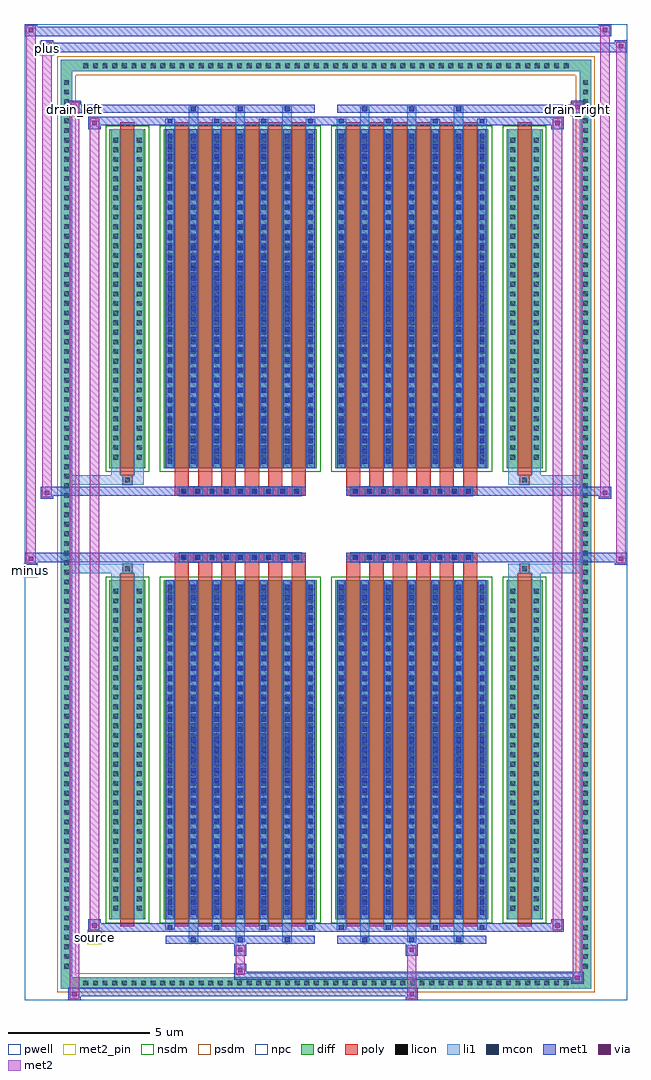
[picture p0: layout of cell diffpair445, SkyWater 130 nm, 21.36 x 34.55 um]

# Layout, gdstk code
import gdstk
lib = gdstk.Library(unit=1e-6, precision=5e-09)
def R(c, l, rs):  # rectangles x0, y0, x1, y1
    for r in rs: c.add(gdstk.rectangle(r[:2], r[2:], *l))
def A(c, l, x, y, w, h, nx, ny, dx, dy):  # array of equal rectangles
    R(c, l, [(x+i*dx, y+j*dy, x+i*dx+w, y+j*dy+h) for i in range(nx) for j in range(ny)])
def P(c, l, *ps):  # polygons
    for p in ps: c.add(gdstk.Polygon(p, *l))
pwell = (64, 44)
diff = (65, 20)
poly = (66, 20)
licon = (66, 44)
li1 = (67, 20)
mcon = (67, 44)
met1 = (68, 20)
via = (68, 44)
met2_pin = (69, 16)
met2 = (69, 20)
nsdm = (93, 44)
psdm = (94, 20)
npc = (95, 20)

diffpair445 = lib.new_cell('diffpair445')
R(diffpair445, pwell, [(-10.66,-16.84,10.66,17.71), (-7.98,-15.03,-0.01,-0.805), (0.01,-15.03,7.98,-0.805), (-7.98,0.805,-0.01,15.03), (0.01,0.805,7.98,15.03)])
A(diffpair445, diff, -8.705, -16.44, 0.41, 0.41, 51, 2, 0.34, 32.47)
A(diffpair445, diff, -9.39, -15.845, 0.41, 0.41, 1, 93, 0, 0.34)
A(diffpair445, diff, 8.98, -15.845, 0.41, 0.41, 1, 93, 0, 0.34)
R(diffpair445, diff, [(-8.705,-16.44,8.705,-16.03), (-9.39,-15.845,-8.98,15.845), (8.98,-15.845,9.39,15.845), (-7.67,-13.985,-6.39,-1.985), (-5.75,-13.985,-0.32,-1.985), (0.32,-13.985,5.75,-1.985), (6.39,-13.985,7.67,-1.985), (-7.67,1.985,-6.39,13.985), (-5.75,1.985,-0.32,13.985), (0.32,1.985,5.75,13.985), (6.39,1.985,7.67,13.985), (-8.705,16.03,8.705,16.44)])
P(diffpair445, diff, [(9.39,16.44),(-9.39,16.44),(-9.39,-16.03),(-8.98,-16.03),(-8.98,16.03),(8.98,16.03),(8.98,-16.03),(-8.98,-16.03),(-9.39,-16.03),(-9.39,-16.44),(9.39,-16.44)])
A(diffpair445, poly, -5.36, -14.235, 0.5, 12.5, 6, 2, 0.83, 15.97)
A(diffpair445, poly, 0.71, -14.235, 0.5, 12.5, 6, 2, 0.83, 15.97)
A(diffpair445, poly, -5.36, -1.735, 0.5, 0.4, 6, 2, 0.83, 3.07)
A(diffpair445, poly, 0.71, -1.735, 0.5, 0.4, 6, 2, 0.83, 3.07)
A(diffpair445, poly, -5.2, -1.335, 0.33, 0.33, 9, 2, 0.5, 2.34)
A(diffpair445, poly, 0.87, -1.335, 0.33, 0.33, 9, 2, 0.5, 2.34)
R(diffpair445, poly, [(-7.28,-14.235,-6.78,-1.735), (6.78,-14.235,7.28,-1.735), (-7.195,-1.735,-6.865,-1.405), (-7.195,-1.735,-6.865,-1.405), (6.865,-1.735,7.195,-1.405), (6.865,-1.735,7.195,-1.405), (-5.36,-1.335,-0.71,-1.005), (0.71,-1.335,5.36,-1.005), (-5.36,1.005,-0.71,1.335), (0.71,1.005,5.36,1.335), (-7.195,1.405,-6.865,1.735), (-7.195,1.405,-6.865,1.735), (6.865,1.405,7.195,1.735), (6.865,1.405,7.195,1.735), (-7.28,1.735,-6.78,14.235), (6.78,1.735,7.28,14.235)])
A(diffpair445, licon, -8.585, -16.32, 0.17, 0.17, 51, 2, 0.34, 32.47)
A(diffpair445, licon, -9.27, -15.725, 0.17, 0.17, 1, 93, 0, 0.34)
A(diffpair445, licon, 9.1, -15.725, 0.17, 0.17, 1, 93, 0, 0.34)
A(diffpair445, licon, -7.53, -13.68, 0.17, 0.17, 1, 34, 0, 0.34)
A(diffpair445, licon, -6.7, -13.68, 0.17, 0.17, 1, 34, 0, 0.34)
A(diffpair445, licon, -5.61, -13.68, 0.17, 0.17, 7, 34, 0.83, 0.34)
A(diffpair445, licon, 0.46, -13.68, 0.17, 0.17, 7, 34, 0.83, 0.34)
A(diffpair445, licon, 6.53, -13.68, 0.17, 0.17, 1, 34, 0, 0.34)
A(diffpair445, licon, 7.36, -13.68, 0.17, 0.17, 1, 34, 0, 0.34)
A(diffpair445, licon, -5.12, -1.255, 0.17, 0.17, 9, 2, 0.5, 2.34)
A(diffpair445, licon, 0.95, -1.255, 0.17, 0.17, 9, 2, 0.5, 2.34)
A(diffpair445, licon, -7.53, 2.29, 0.17, 0.17, 1, 34, 0, 0.34)
A(diffpair445, licon, -6.7, 2.29, 0.17, 0.17, 1, 34, 0, 0.34)
A(diffpair445, licon, -5.61, 2.29, 0.17, 0.17, 7, 34, 0.83, 0.34)
A(diffpair445, licon, 0.46, 2.29, 0.17, 0.17, 7, 34, 0.83, 0.34)
A(diffpair445, licon, 6.53, 2.29, 0.17, 0.17, 1, 34, 0, 0.34)
A(diffpair445, licon, 7.36, 2.29, 0.17, 0.17, 1, 34, 0, 0.34)
R(diffpair445, licon, [(-7.115,-1.655,-6.945,-1.485), (6.945,-1.655,7.115,-1.485), (-7.115,1.485,-6.945,1.655), (6.945,1.485,7.115,1.655)])
A(diffpair445, li1, -8.665, -16.4, 0.33, 0.33, 51, 2, 0.34, 32.47)
A(diffpair445, li1, -9.35, -15.805, 0.33, 0.33, 1, 93, 0, 0.34)
A(diffpair445, li1, 9.02, -15.805, 0.33, 0.33, 1, 93, 0, 0.34)
A(diffpair445, li1, -4.86, -14.79, 0.33, 0.805, 3, 2, 1.66, 28.775)
A(diffpair445, li1, -4.78, -14.79, 0.17, 0.17, 3, 2, 1.66, 29.41)
A(diffpair445, li1, 1.21, -14.79, 0.33, 0.805, 3, 2, 1.66, 28.775)
A(diffpair445, li1, 1.29, -14.79, 0.17, 0.17, 3, 2, 1.66, 29.41)
A(diffpair445, li1, -5.69, -14.36, 0.33, 0.375, 4, 2, 1.66, 28.345)
A(diffpair445, li1, -5.61, -14.36, 0.17, 0.17, 4, 2, 1.66, 28.55)
A(diffpair445, li1, 0.38, -14.36, 0.33, 0.375, 4, 2, 1.66, 28.345)
A(diffpair445, li1, 0.46, -14.36, 0.17, 0.17, 4, 2, 1.66, 28.55)
A(diffpair445, li1, -5.69, -13.985, 0.33, 12, 7, 2, 0.83, 15.97)
A(diffpair445, li1, 0.38, -13.985, 0.33, 12, 7, 2, 0.83, 15.97)
A(diffpair445, li1, -5.61, -13.83, 0.17, 0.17, 7, 33, 0.83, 0.36)
A(diffpair445, li1, -5.61, -13.83, 0.17, 11.69, 7, 2, 0.83, 15.97)
A(diffpair445, li1, 0.46, -13.83, 0.17, 0.17, 7, 33, 0.83, 0.36)
A(diffpair445, li1, 0.46, -13.83, 0.17, 11.69, 7, 2, 0.83, 15.97)
A(diffpair445, li1, -7.61, -13.76, 0.33, 0.33, 1, 34, 0, 0.34)
A(diffpair445, li1, -6.78, -13.76, 0.33, 0.33, 1, 34, 0, 0.34)
A(diffpair445, li1, -5.69, -13.76, 0.33, 0.33, 7, 34, 0.83, 0.34)
A(diffpair445, li1, 0.38, -13.76, 0.33, 0.33, 7, 34, 0.83, 0.34)
A(diffpair445, li1, 6.45, -13.76, 0.33, 0.33, 1, 34, 0, 0.34)
A(diffpair445, li1, 7.28, -13.76, 0.33, 0.33, 1, 34, 0, 0.34)
A(diffpair445, li1, -5.2, -1.335, 0.33, 0.33, 9, 2, 0.5, 2.34)
A(diffpair445, li1, 0.87, -1.335, 0.33, 0.33, 9, 2, 0.5, 2.34)
A(diffpair445, li1, -5.61, 2.14, 0.17, 0.17, 7, 33, 0.83, 0.36)
A(diffpair445, li1, 0.46, 2.14, 0.17, 0.17, 7, 33, 0.83, 0.36)
A(diffpair445, li1, -7.61, 2.21, 0.33, 0.33, 1, 34, 0, 0.34)
A(diffpair445, li1, -6.78, 2.21, 0.33, 0.33, 1, 34, 0, 0.34)
A(diffpair445, li1, -5.69, 2.21, 0.33, 0.33, 7, 34, 0.83, 0.34)
A(diffpair445, li1, 0.38, 2.21, 0.33, 0.33, 7, 34, 0.83, 0.34)
A(diffpair445, li1, 6.45, 2.21, 0.33, 0.33, 1, 34, 0, 0.34)
A(diffpair445, li1, 7.28, 2.21, 0.33, 0.33, 1, 34, 0, 0.34)
R(diffpair445, li1, [(-9.39,-16.44,-8.98,-16.03), (-9.39,-16.44,-8.98,-16.03), (-8.98,-16.44,8.98,-16.03), (8.98,-16.44,9.39,-16.03), (8.98,-16.44,9.39,-16.03), (-9.39,-16.03,-8.98,16.03), (8.98,-16.03,9.39,16.03), (-7.61,-13.985,-7.28,-1.985), (-6.78,-13.985,-6.45,-1.985), (6.45,-13.985,6.78,-1.985), (7.28,-13.985,7.61,-1.985), (-7.61,-1.985,-7.28,-1.405), (-6.78,-1.985,-6.45,-1.405), (6.45,-1.985,6.78,-1.405), (7.28,-1.985,7.61,-1.405), (-9.39,-1.735,-7.195,-1.405), (-7.61,-1.735,-7.195,-1.405), (-7.195,-1.735,-6.865,-1.405), (-6.865,-1.735,-6.45,-1.405), (6.45,-1.735,6.865,-1.405), (6.865,-1.735,7.195,-1.405), (6.865,-1.735,9.39,-1.405), (7.195,-1.735,7.61,-1.405), (-9.39,1.405,-7.195,1.735), (-7.61,1.405,-7.195,1.735), (-7.61,1.405,-7.28,1.985), (-7.195,1.405,-6.865,1.735), (-6.865,1.405,-6.45,1.735), (-6.78,1.405,-6.45,1.985), (6.45,1.405,6.865,1.735), (6.45,1.405,6.78,1.985), (6.865,1.405,7.195,1.735), (6.865,1.405,9.39,1.735), (7.195,1.405,7.61,1.735), (7.28,1.405,7.61,1.985), (-7.61,1.985,-7.28,13.985), (-6.78,1.985,-6.45,13.985), (6.45,1.985,6.78,13.985), (7.28,1.985,7.61,13.985), (-9.39,16.03,-8.98,16.44), (-9.39,16.03,-8.98,16.44), (-8.98,16.03,8.98,16.44), (8.98,16.03,9.39,16.44), (8.98,16.03,9.39,16.44)])
A(diffpair445, mcon, -4.78, -14.79, 0.17, 0.17, 3, 2, 1.66, 29.41)
A(diffpair445, mcon, 1.29, -14.79, 0.17, 0.17, 3, 2, 1.66, 29.41)
A(diffpair445, mcon, -5.61, -14.36, 0.17, 0.17, 4, 2, 1.66, 28.55)
A(diffpair445, mcon, 0.46, -14.36, 0.17, 0.17, 4, 2, 1.66, 28.55)
A(diffpair445, mcon, -5.61, -13.83, 0.17, 0.17, 7, 33, 0.83, 0.36)
A(diffpair445, mcon, 0.46, -13.83, 0.17, 0.17, 7, 33, 0.83, 0.36)
A(diffpair445, mcon, -5.12, -1.255, 0.17, 0.17, 9, 2, 0.5, 2.34)
A(diffpair445, mcon, 0.95, -1.255, 0.17, 0.17, 9, 2, 0.5, 2.34)
A(diffpair445, mcon, -5.61, 2.14, 0.17, 0.17, 7, 33, 0.83, 0.36)
A(diffpair445, mcon, 0.46, 2.14, 0.17, 0.17, 7, 33, 0.83, 0.36)
A(diffpair445, met1, -4.84, -14.85, 0.29, 0.29, 3, 2, 1.66, 29.41)
A(diffpair445, met1, 1.23, -14.85, 0.29, 0.29, 3, 2, 1.66, 29.41)
A(diffpair445, met1, -5.67, -14.42, 0.29, 0.29, 4, 2, 1.66, 28.55)
A(diffpair445, met1, 0.4, -14.42, 0.29, 0.29, 4, 2, 1.66, 28.55)
A(diffpair445, met1, -5.67, -13.985, 0.29, 12, 7, 2, 0.83, 15.97)
A(diffpair445, met1, 0.4, -13.985, 0.29, 12, 7, 2, 0.83, 15.97)
A(diffpair445, met1, -5.67, -13.89, 0.29, 0.29, 7, 33, 0.83, 0.36)
A(diffpair445, met1, 0.4, -13.89, 0.29, 0.29, 7, 33, 0.83, 0.36)
A(diffpair445, met1, -5.18, -1.315, 0.29, 0.29, 9, 2, 0.5, 2.34)
A(diffpair445, met1, 0.89, -1.315, 0.29, 0.29, 9, 2, 0.5, 2.34)
A(diffpair445, met1, -5.67, 2.08, 0.29, 0.29, 7, 33, 0.83, 0.36)
A(diffpair445, met1, 0.4, 2.08, 0.29, 0.29, 7, 33, 0.83, 0.36)
R(diffpair445, met1, [(-9.12,-16.84,-8.69,-16.41), (2.82,-16.84,3.25,-16.41), (-9.12,-16.7,3.25,-16.41), (8.69,-16.27,9.12,-15.84), (-3.25,-16.13,9.12,-15.84), (-3.25,-15.99,-2.82,-15.56), (-3.25,-15.28,-2.82,-14.85), (2.82,-15.28,3.25,-14.85), (-5.67,-14.85,-0.4,-14.56), (0.4,-14.85,5.67,-14.56), (-8.41,-14.42,-7.98,-13.99), (-8.41,-14.42,-5.67,-14.13), (-5.67,-14.42,-0.4,-14.13), (-0.4,-14.42,0.4,-14.13), (0.4,-14.42,5.67,-14.13), (5.67,-14.42,8.41,-14.13), (7.98,-14.42,8.41,-13.99), (-10.66,-1.435,-10.23,-1.005), (10.23,-1.435,10.66,-1.005), (-10.66,-1.335,-0.71,-1.005), (-5.36,-1.335,-0.71,-1.005), (0.71,-1.335,5.36,-1.005), (0.71,-1.335,10.66,-1.005), (-10.09,0.905,-9.66,1.335), (9.66,0.905,10.09,1.335), (-10.09,1.005,-5.36,1.335), (-5.36,1.005,-0.71,1.335), (0.71,1.005,5.36,1.335), (5.36,1.005,10.09,1.335), (-8.41,13.99,-7.98,14.42), (7.98,13.99,8.41,14.42), (-8.41,14.13,-5.67,14.42), (-5.67,14.13,-0.4,14.42), (-0.4,14.13,0.4,14.42), (0.4,14.13,5.67,14.42), (5.67,14.13,8.41,14.42), (-9.12,14.56,-8.69,14.99), (-9.12,14.56,-5.67,14.85), (-5.67,14.56,-0.4,14.85), (0.4,14.56,5.67,14.85), (5.67,14.56,9.12,14.85), (8.69,14.56,9.12,14.99), (-10.09,16.71,-9.66,17.14), (-10.09,16.71,-7.98,17.04), (-7.98,16.71,7.98,17.04), (7.98,16.71,10.66,17.04), (10.23,16.71,10.66,17.14), (-10.66,17.28,-10.23,17.71), (-10.66,17.28,-7.98,17.61), (-7.98,17.28,7.98,17.61), (7.98,17.28,10.09,17.61), (9.66,17.28,10.09,17.71)])
R(diffpair445, via, [(-8.98,-16.7,-8.83,-16.55), (2.96,-16.7,3.11,-16.55), (8.83,-16.13,8.98,-15.98), (-3.11,-15.85,-2.96,-15.7), (-3.11,-15.14,-2.96,-14.99), (2.96,-15.14,3.11,-14.99), (-8.27,-14.28,-8.12,-14.13), (8.12,-14.28,8.27,-14.13), (-10.52,-1.295,-10.37,-1.145), (10.37,-1.295,10.52,-1.145), (-9.95,1.045,-9.8,1.195), (9.8,1.045,9.95,1.195), (-8.27,14.13,-8.12,14.28), (8.12,14.13,8.27,14.28), (-8.98,14.7,-8.83,14.85), (8.83,14.7,8.98,14.85), (-9.95,16.85,-9.8,17), (10.37,16.85,10.52,17), (-10.52,17.42,-10.37,17.57), (9.8,17.42,9.95,17.57)])
R(diffpair445, met2_pin, [(-8.445,-14.87,-7.945,-14.37), (-10.695,-1.885,-10.195,-1.385), (-9.155,14.44,-8.655,14.94), (8.655,14.44,9.155,14.94), (-10.125,16.59,-9.625,17.09)])
R(diffpair445, met2, [(-9.07,-16.79,-8.74,-16.46), (-9.07,-16.79,-8.74,14.94), (2.87,-16.79,3.2,-16.46), (2.87,-16.46,3.2,-15.23), (8.74,-16.22,9.07,-15.89), (8.74,-16.22,9.07,14.94), (-3.2,-15.94,-2.87,-15.61), (-3.2,-15.61,-2.87,-15.23), (-3.2,-15.23,-2.87,-14.9), (2.87,-15.23,3.2,-14.9), (-8.36,-14.37,-8.03,-14.04), (-8.36,-14.37,-8.03,14.37), (8.03,-14.37,8.36,-14.04), (8.03,-14.37,8.36,14.37), (-10.61,-1.385,-10.28,-1.055), (-10.61,-1.385,-10.28,17.66), (10.28,-1.385,10.61,-1.055), (10.28,-1.385,10.61,17.09), (-10.04,0.955,-9.71,1.285), (-10.04,0.955,-9.71,17.09), (9.71,0.955,10.04,1.285), (9.71,0.955,10.04,17.66), (-8.36,14.04,-8.03,14.37), (8.03,14.04,8.36,14.37), (-9.07,14.61,-8.74,14.94), (8.74,14.61,9.07,14.94), (-10.04,16.76,-9.71,17.09), (10.28,16.76,10.61,17.09), (-10.61,17.33,-10.28,17.66), (9.71,17.33,10.04,17.66)])
P(diffpair445, met2, [(10.61,-1.385),(10.61,-1.385),(10.61,-1.055),(10.61,-1.055)],
  [(10.61,16.76),(10.61,16.76),(10.61,17.09),(10.61,17.09)],
  [(-10.28,-1.385),(-10.28,-1.385),(-10.28,-1.055),(-10.28,-1.055)],
  [(-10.28,17.33),(-10.28,17.33),(-10.28,17.66),(-10.28,17.66)],
  [(10.04,0.955),(10.04,0.955),(10.04,1.285),(10.04,1.285)],
  [(10.04,17.33),(10.04,17.33),(10.04,17.66),(10.04,17.66)],
  [(-9.71,0.955),(-9.71,0.955),(-9.71,1.285),(-9.71,1.285)],
  [(-9.71,16.76),(-9.71,16.76),(-9.71,17.09),(-9.71,17.09)],
  [(-8.74,-16.79),(-8.74,-16.79),(-8.74,-16.46),(-8.74,-16.46)],
  [(-8.74,14.61),(-8.74,14.61),(-8.74,14.94),(-8.74,14.94)],
  [(9.07,-16.22),(9.07,-16.22),(9.07,-15.89),(9.07,-15.89)],
  [(9.07,14.61),(9.07,14.61),(9.07,14.94),(9.07,14.94)],
  [(-8.03,-14.37),(-8.03,-14.37),(-8.03,-14.04),(-8.03,-14.04)],
  [(-8.03,14.04),(-8.03,14.04),(-8.03,14.37),(-8.03,14.37)],
  [(8.36,-14.37),(8.36,-14.37),(8.36,-14.04),(8.36,-14.04)],
  [(8.36,14.04),(8.36,14.04),(8.36,14.37),(8.36,14.37)])
R(diffpair445, nsdm, [(-7.8,-14.115,-6.26,-1.855), (-5.88,-14.115,-0.19,-1.855), (0.19,-14.115,5.88,-1.855), (6.26,-14.115,7.8,-1.855), (-7.8,1.855,-6.26,14.115), (-5.88,1.855,-0.19,14.115), (0.19,1.855,5.88,14.115), (6.26,1.855,7.8,14.115)])
P(diffpair445, psdm, [(9.52,16.57),(-9.52,16.57),(-9.52,-15.9),(-8.85,-15.9),(-8.85,15.9),(8.85,15.9),(8.85,-15.9),(-8.85,-15.9),(-9.52,-15.9),(-9.52,-16.57),(9.52,-16.57)])
A(diffpair445, npc, -5.22, -1.355, 0.37, 0.37, 9, 2, 0.5, 2.34)
A(diffpair445, npc, 0.85, -1.355, 0.37, 0.37, 9, 2, 0.5, 2.34)
R(diffpair445, npc, [(-7.215,-1.755,-6.845,-1.385), (6.845,-1.755,7.215,-1.385), (-5.22,-1.355,-4.35,-0.985), (-5.22,-1.355,-4.35,-0.985), (-4.72,-1.355,-3.85,-0.985), (-4.72,-1.355,-3.85,-0.985), (-4.22,-1.355,-3.35,-0.985), (-4.22,-1.355,-3.35,-0.985), (-3.72,-1.355,-2.85,-0.985), (-3.72,-1.355,-2.85,-0.985), (-3.22,-1.355,-2.35,-0.985), (-3.22,-1.355,-2.35,-0.985), (-2.72,-1.355,-1.85,-0.985), (-2.72,-1.355,-1.85,-0.985), (-2.22,-1.355,-1.35,-0.985), (-2.22,-1.355,-1.35,-0.985), (-1.72,-1.355,-0.85,-0.985), (-1.72,-1.355,-0.85,-0.985), (0.85,-1.355,1.72,-0.985), (0.85,-1.355,1.72,-0.985), (1.35,-1.355,2.22,-0.985), (1.35,-1.355,2.22,-0.985), (1.85,-1.355,2.72,-0.985), (1.85,-1.355,2.72,-0.985), (2.35,-1.355,3.22,-0.985), (2.35,-1.355,3.22,-0.985), (2.85,-1.355,3.72,-0.985), (2.85,-1.355,3.72,-0.985), (3.35,-1.355,4.22,-0.985), (3.35,-1.355,4.22,-0.985), (3.85,-1.355,4.72,-0.985), (3.85,-1.355,4.72,-0.985), (4.35,-1.355,5.22,-0.985), (4.35,-1.355,5.22,-0.985), (-5.22,0.985,-4.35,1.355), (-5.22,0.985,-4.35,1.355), (-4.72,0.985,-3.85,1.355), (-4.72,0.985,-3.85,1.355), (-4.22,0.985,-3.35,1.355), (-4.22,0.985,-3.35,1.355), (-3.72,0.985,-2.85,1.355), (-3.72,0.985,-2.85,1.355), (-3.22,0.985,-2.35,1.355), (-3.22,0.985,-2.35,1.355), (-2.72,0.985,-1.85,1.355), (-2.72,0.985,-1.85,1.355), (-2.22,0.985,-1.35,1.355), (-2.22,0.985,-1.35,1.355), (-1.72,0.985,-0.85,1.355), (-1.72,0.985,-0.85,1.355), (0.85,0.985,1.72,1.355), (0.85,0.985,1.72,1.355), (1.35,0.985,2.22,1.355), (1.35,0.985,2.22,1.355), (1.85,0.985,2.72,1.355), (1.85,0.985,2.72,1.355), (2.35,0.985,3.22,1.355), (2.35,0.985,3.22,1.355), (2.85,0.985,3.72,1.355), (2.85,0.985,3.72,1.355), (3.35,0.985,4.22,1.355), (3.35,0.985,4.22,1.355), (3.85,0.985,4.72,1.355), (3.85,0.985,4.72,1.355), (4.35,0.985,5.22,1.355), (4.35,0.985,5.22,1.355), (-7.215,1.385,-6.845,1.755), (6.845,1.385,7.215,1.755)])
diffpair445.add(gdstk.Label('minus', (-10.445,-1.635), layer=69, texttype=5))
diffpair445.add(gdstk.Label('drain_right', (8.905,14.69), layer=69, texttype=5))
diffpair445.add(gdstk.Label('drain_left', (-8.905,14.69), layer=69, texttype=5))
diffpair445.add(gdstk.Label('source', (-8.195,-14.62), layer=69, texttype=5))
diffpair445.add(gdstk.Label('plus', (-9.875,16.84), layer=69, texttype=5))

lib.write_gds('diffpair445.gds')
